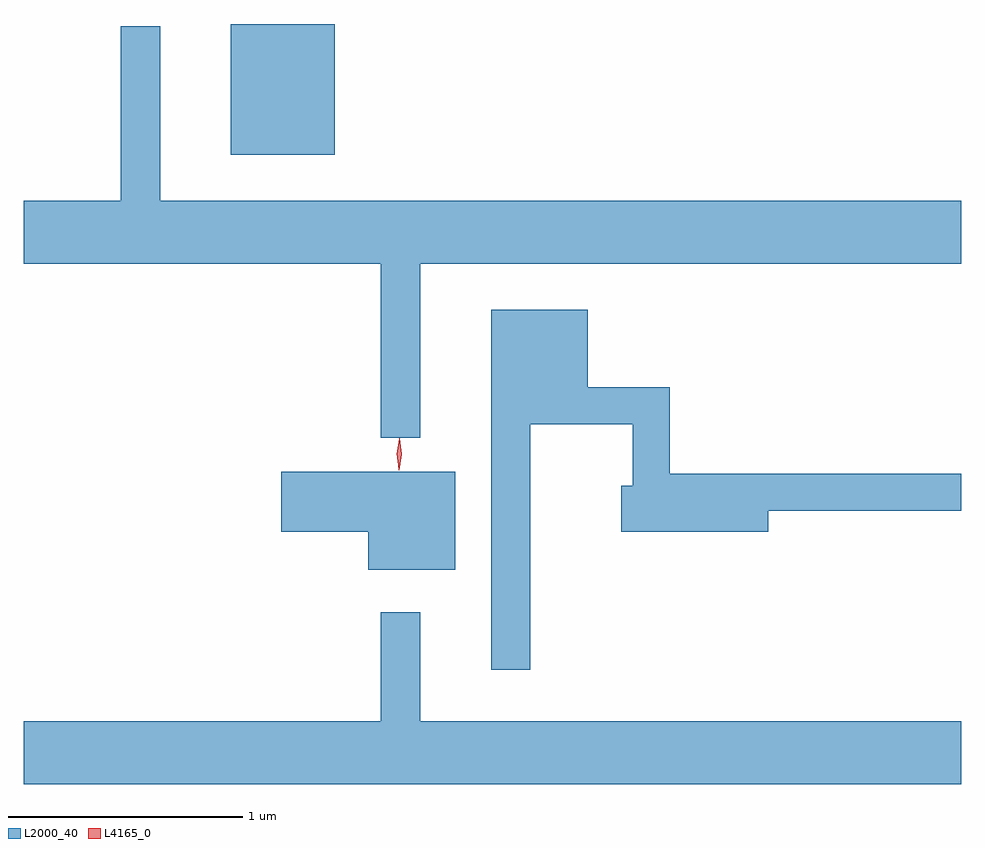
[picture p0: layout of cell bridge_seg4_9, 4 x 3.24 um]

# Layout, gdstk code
import gdstk
lib = gdstk.Library(unit=1e-6, precision=1e-09)
def R(c, l, rs):  # rectangles x0, y0, x1, y1
    for r in rs: c.add(gdstk.rectangle(r[:2], r[2:], *l))
def P(c, l, *ps):  # polygons
    for p in ps: c.add(gdstk.Polygon(p, *l))
L2000_40 = (2000, 40)
L4165_0 = (4165, 0)

bridge_seg4_9 = lib.new_cell('bridge_seg4_9')
R(bridge_seg4_9, L2000_40, [(1150.071,1390.661,1150.514,1391.218)])
P(bridge_seg4_9, L2000_40, [(1150.879,1390.196),(1153.187,1390.196),(1153.187,1390.464),(1149.769,1390.464),(1149.769,1391.208),(1149.601,1391.208),(1149.601,1390.464),(1149.187,1390.464),(1149.187,1390.196),(1150.711,1390.196),(1150.711,1389.453),(1150.879,1389.453)],
  [(1151.349,1389.511),(1151.786,1389.511),(1151.786,1389.249),(1151.736,1389.249),(1151.736,1389.051),(1152.364,1389.051),(1152.364,1389.141),(1153.187,1389.141),(1153.187,1389.299),(1151.944,1389.299),(1151.944,1389.669),(1151.594,1389.669),(1151.594,1389.999),(1151.181,1389.999),(1151.181,1388.463),(1151.349,1388.463)],
  [(1151.029,1389.309),(1150.286,1389.309),(1150.286,1389.051),(1150.656,1389.051),(1150.656,1388.891),(1151.029,1388.891)],
  [(1153.187,1388.244),(1150.879,1388.244),(1150.879,1388.708),(1150.711,1388.708),(1150.711,1388.244),(1149.187,1388.244),(1149.187,1387.976),(1153.187,1387.976)])
P(bridge_seg4_9, L4165_0, [(1150.788,1389.314),(1150.78,1389.382),(1150.79,1389.45),(1150.79,1389.45),(1150.791,1389.45),(1150.8,1389.382),(1150.79,1389.314),(1150.789,1389.314)],
  [(1150.788,1389.32),(1150.788,1389.321),(1150.779,1389.384),(1150.79,1389.446),(1150.79,1389.447),(1150.791,1389.446),(1150.799,1389.384),(1150.788,1389.321)])

lib.write_gds('bridge_seg4_9.gds')
